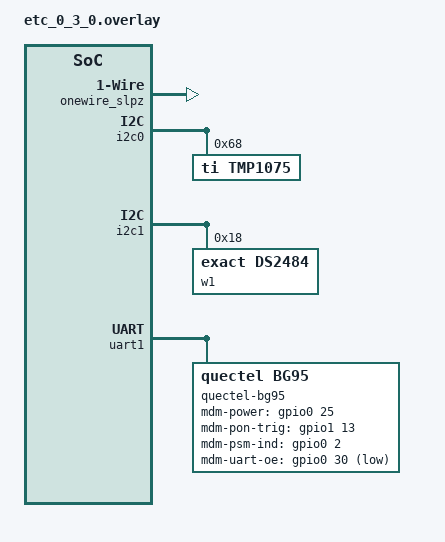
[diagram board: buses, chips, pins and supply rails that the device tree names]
#include "etc_0_3_0.dtsi"

/ {
	board-control {
		onewire_slpz: onewire-slpz {
			compatible = "etc,output";
			control-gpios = <&gpio0 13 GPIO_ACTIVE_HIGH>;
			status = "okay";
		};
		hw_wdt: hw-wdt {
			compatible = "etc,output";
			control-gpios = <&gpio1 1 GPIO_ACTIVE_HIGH>;
			status = "okay";
		};
	};
};

&i2c0 {
	compatible = "nordic,nrf-twim";
	status = "okay"; 

	tmp1075: tmp1075@68 {
		compatible = "ti,tmp1075";
		reg = <0x68>;
	};
};

&i2c1 {
	compatible = "nordic,nrf-twim";
	status = "okay"; 
	pinctrl-0 = <&i2c1_default>;
	pinctrl-1 = <&i2c1_sleep>;
	pinctrl-names = "default", "sleep";

	w1: w1@18 {
		compatible = "exact,ds2484";
		reg = <0x18>;
	};
};

&uart1 {
	compatible = "nordic,nrf-uarte";
	status = "okay";

	quectel_bg95: quectel_bg95 {
		compatible = "quectel,bg95";
		label      = "quectel-bg95";
		status     = "okay";
		mdm-power-gpios = <&gpio0 25 0>;
		mdm-pon-trig-gpios = <&gpio1 13 0>;
		mdm-psm-ind-gpios = <&gpio0 2 0>;
		mdm-uart-oe-gpios = <&gpio0 30 (GPIO_ACTIVE_LOW | GPIO_OPEN_DRAIN)>;
	};
};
